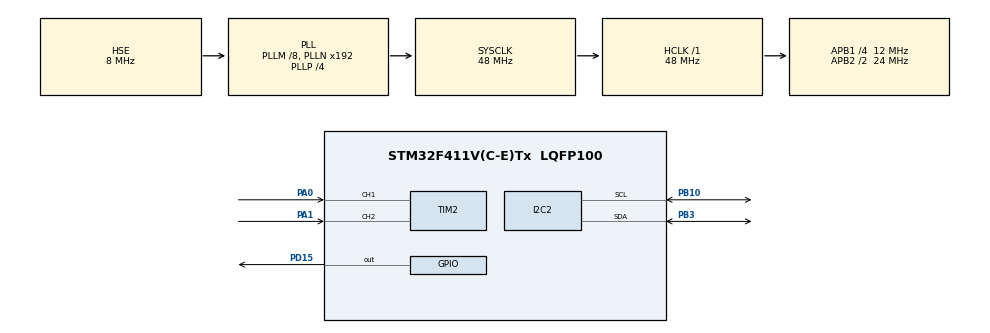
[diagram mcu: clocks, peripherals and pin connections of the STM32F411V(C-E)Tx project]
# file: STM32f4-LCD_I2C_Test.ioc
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Mcu.Family=STM32F4
Mcu.Name=STM32F411V(C-E)Tx
Mcu.Package=LQFP100
NVIC.PriorityGroup=NVIC_PRIORITYGROUP_0
PA0-WKUP.GPIO_PuPd=GPIO_PULLUP
PA0-WKUP.Signal=S_TIM2_CH1_ETR
PA1.GPIO_PuPd=GPIO_PULLUP
PA1.Signal=S_TIM2_CH2
PB10.Mode=I2C
PB10.Signal=I2C2_SCL
PB3.Mode=I2C
PB3.Signal=I2C2_SDA
PD15.Signal=GPIO_Output
PH0\ -\ OSC_IN.Mode=HSE-External-Oscillator
PH0\ -\ OSC_IN.Signal=RCC_OSC_IN
PH1\ -\ OSC_OUT.Mode=HSE-External-Oscillator
PH1\ -\ OSC_OUT.Signal=RCC_OSC_OUT
ProjectManager.HeapSize=0x200
ProjectManager.StackSize=0x400
ProjectManager.TargetToolchain=STM32CubeIDE
RCC.48MHZClocksFreq_Value=24000000
RCC.AHBFreq_Value=48000000
RCC.APB1CLKDivider=RCC_HCLK_DIV4
RCC.APB1Freq_Value=12000000
RCC.APB1TimFreq_Value=24000000
RCC.APB2CLKDivider=RCC_HCLK_DIV2
RCC.APB2Freq_Value=24000000
RCC.APB2TimFreq_Value=48000000
RCC.CortexFreq_Value=48000000
RCC.HCLKFreq_Value=48000000
RCC.HSE_VALUE=8000000
RCC.HSI_VALUE=16000000
RCC.LSE_VALUE=32768
RCC.PLLI2SM=5
RCC.PLLI2SN=200
RCC.PLLM=8
RCC.PLLP=RCC_PLLP_DIV4
RCC.PLLQ=8
RCC.PLLSourceVirtual=RCC_PLLSOURCE_HSE
RCC.SYSCLKFreq_VALUE=48000000
RCC.SYSCLKSource=RCC_SYSCLKSOURCE_PLLCLK
RCC.VCOOutputFreq_Value=192000000
SH.S_TIM2_CH1_ETR.0=TIM2_CH1,Encoder_Interface
SH.S_TIM2_CH2.0=TIM2_CH2,Encoder_Interface
TIM2.IC1Polarity=TIM_ICPOLARITY_RISING
TIM2.IC2Polarity=TIM_ICPOLARITY_RISING
board=STM32F411E-DISCO

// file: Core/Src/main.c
/* USER CODE BEGIN Header */
/**
  ******************************************************************************
  * @file           : main.c
  * @brief          : Main program body
  ******************************************************************************
  * @attention
  *
  * Copyright (c) 2023 STMicroelectronics.
  * All rights reserved.
  *
  * This software is licensed under terms that can be found in the LICENSE file
  * in the root directory of this software component.
  * If no LICENSE file comes with this software, it is provided AS-IS.
  *
  ******************************************************************************
  */
/* USER CODE END Header */
#include "main.h"

/* USER CODE BEGIN Includes */
#include <LiquidCrystal_I2C.h>
#include "Encoder.h"

/* USER CODE END Includes */

/* USER CODE BEGIN PD */
  // LCD defines
  #define ADDRESS 0x4E // Write to LCD
  #define COLS 16
  #define ROWS 2

/* USER CODE END PD */

I2C_HandleTypeDef hi2c2;

TIM_HandleTypeDef htim2;

/* USER CODE BEGIN PV */
// Structs
  LiquidCrystal_LCD lcd0;
  I2C_HandleTypeDef hi2c2;
  Encoder encoder0;

/* USER CODE END PV */

void SystemClock_Config(void);
static void MX_GPIO_Init(void);
static void MX_I2C2_Init(void);
static void MX_TIM2_Init(void);

int main(void)
{

  /* MCU Configuration--------------------------------------------------------*/

  /* Reset of all peripherals, Initializes the Flash interface and the Systick. */
  HAL_Init();

  /* Configure the system clock */
  SystemClock_Config();

  /* Initialize all configured peripherals */
  MX_GPIO_Init();
  MX_I2C2_Init();
  MX_TIM2_Init();
  /* USER CODE BEGIN 2 */
  // Encoder
     HAL_TIM_Encoder_Start(&htim2, TIM_CHANNEL_ALL);
     Encoder_init(&encoder0, &htim2, 24);

  // LCD 20x4
     LiquidCrystal_I2C(&lcd0, &hi2c2, ADDRESS, COLS, ROWS); // Update to appropriate I2C
     init(&lcd0);
     clear(&lcd0);
     home(&lcd0);
     char* str1 = "Starting Up!";
     printToLCD(&lcd0, str1,strlen(str1));
     HAL_Delay(1000);
  /* USER CODE END 2 */

  /* Infinite loop */
  /* USER CODE BEGIN WHILE */
     clear(&lcd0);
     home(&lcd0);
    // Print the current count to LCD
    char *msg = "Count:";

    printToLCD(&lcd0, msg, strlen(msg));

  while (1)
  {
	 // Get the encoder count.
	 Encoder_count(&encoder0);
	 uint16_t count = encoder0.cnt1;
	 char strCnt [16];
	 setCursor(&lcd0, 6, 0);
	 sprintf(strCnt, "%05d", count);

	 printToLCD(&lcd0, strCnt, strlen(strCnt));
	 //HAL_Delay(10);
    /* USER CODE END WHILE */

  }
}

void SystemClock_Config(void)
{
  RCC_OscInitTypeDef RCC_OscInitStruct = {0};
  RCC_ClkInitTypeDef RCC_ClkInitStruct = {0};

  /** Configure the main internal regulator output voltage
  */
  __HAL_RCC_PWR_CLK_ENABLE();
  __HAL_PWR_VOLTAGESCALING_CONFIG(PWR_REGULATOR_VOLTAGE_SCALE1);

  /** Initializes the RCC Oscillators according to the specified parameters
  * in the RCC_OscInitTypeDef structure.
  */
  RCC_OscInitStruct.OscillatorType = RCC_OSCILLATORTYPE_HSE;
  RCC_OscInitStruct.HSEState = RCC_HSE_ON;
  RCC_OscInitStruct.PLL.PLLState = RCC_PLL_ON;
  RCC_OscInitStruct.PLL.PLLSource = RCC_PLLSOURCE_HSE;
  RCC_OscInitStruct.PLL.PLLM = 8;
  RCC_OscInitStruct.PLL.PLLN = 192;
  RCC_OscInitStruct.PLL.PLLP = RCC_PLLP_DIV4;
  RCC_OscInitStruct.PLL.PLLQ = 8;
  if (HAL_RCC_OscConfig(&RCC_OscInitStruct) != HAL_OK)
  {
    Error_Handler();
  }

  /** Initializes the CPU, AHB and APB buses clocks
  */
  RCC_ClkInitStruct.ClockType = RCC_CLOCKTYPE_HCLK|RCC_CLOCKTYPE_SYSCLK
                              |RCC_CLOCKTYPE_PCLK1|RCC_CLOCKTYPE_PCLK2;
  RCC_ClkInitStruct.SYSCLKSource = RCC_SYSCLKSOURCE_PLLCLK;
  RCC_ClkInitStruct.AHBCLKDivider = RCC_SYSCLK_DIV1;
  RCC_ClkInitStruct.APB1CLKDivider = RCC_HCLK_DIV4;
  RCC_ClkInitStruct.APB2CLKDivider = RCC_HCLK_DIV2;

  if (HAL_RCC_ClockConfig(&RCC_ClkInitStruct, FLASH_LATENCY_1) != HAL_OK)
  {
    Error_Handler();
  }
}

static void MX_I2C2_Init(void)
{

  hi2c2.Instance = I2C2;
  hi2c2.Init.ClockSpeed = 100000;
  hi2c2.Init.DutyCycle = I2C_DUTYCYCLE_2;
  hi2c2.Init.OwnAddress1 = 0;
  hi2c2.Init.AddressingMode = I2C_ADDRESSINGMODE_7BIT;
  hi2c2.Init.DualAddressMode = I2C_DUALADDRESS_DISABLE;
  hi2c2.Init.OwnAddress2 = 0;
  hi2c2.Init.GeneralCallMode = I2C_GENERALCALL_DISABLE;
  hi2c2.Init.NoStretchMode = I2C_NOSTRETCH_DISABLE;
  if (HAL_I2C_Init(&hi2c2) != HAL_OK)
  {
    Error_Handler();
  }

}

static void MX_TIM2_Init(void)
{

  TIM_Encoder_InitTypeDef sConfig = {0};
  TIM_MasterConfigTypeDef sMasterConfig = {0};

  htim2.Instance = TIM2;
  htim2.Init.Prescaler = 0;
  htim2.Init.CounterMode = TIM_COUNTERMODE_UP;
  htim2.Init.Period = 4294967295;
  htim2.Init.ClockDivision = TIM_CLOCKDIVISION_DIV1;
  htim2.Init.AutoReloadPreload = TIM_AUTORELOAD_PRELOAD_DISABLE;
  sConfig.EncoderMode = TIM_ENCODERMODE_TI1;
  sConfig.IC1Polarity = TIM_ICPOLARITY_RISING;
  sConfig.IC1Selection = TIM_ICSELECTION_DIRECTTI;
  sConfig.IC1Prescaler = TIM_ICPSC_DIV1;
  sConfig.IC1Filter = 0;
  sConfig.IC2Polarity = TIM_ICPOLARITY_RISING;
  sConfig.IC2Selection = TIM_ICSELECTION_DIRECTTI;
  sConfig.IC2Prescaler = TIM_ICPSC_DIV1;
  sConfig.IC2Filter = 0;
  if (HAL_TIM_Encoder_Init(&htim2, &sConfig) != HAL_OK)
  {
    Error_Handler();
  }
  sMasterConfig.MasterOutputTrigger = TIM_TRGO_RESET;
  sMasterConfig.MasterSlaveMode = TIM_MASTERSLAVEMODE_DISABLE;
  if (HAL_TIMEx_MasterConfigSynchronization(&htim2, &sMasterConfig) != HAL_OK)
  {
    Error_Handler();
  }

}

static void MX_GPIO_Init(void)
{
  GPIO_InitTypeDef GPIO_InitStruct = {0};

  /* GPIO Ports Clock Enable */
  __HAL_RCC_GPIOH_CLK_ENABLE();
  __HAL_RCC_GPIOA_CLK_ENABLE();
  __HAL_RCC_GPIOB_CLK_ENABLE();
  __HAL_RCC_GPIOD_CLK_ENABLE();

  /*Configure GPIO pin Output Level */
  HAL_GPIO_WritePin(GPIOD, GPIO_PIN_15, GPIO_PIN_RESET);

  /*Configure GPIO pin : PD15 */
  GPIO_InitStruct.Pin = GPIO_PIN_15;
  GPIO_InitStruct.Mode = GPIO_MODE_OUTPUT_PP;
  GPIO_InitStruct.Pull = GPIO_NOPULL;
  GPIO_InitStruct.Speed = GPIO_SPEED_FREQ_LOW;
  HAL_GPIO_Init(GPIOD, &GPIO_InitStruct);

}

void Error_Handler(void)
{
  __disable_irq();
  while (1)
  {
  }
}
